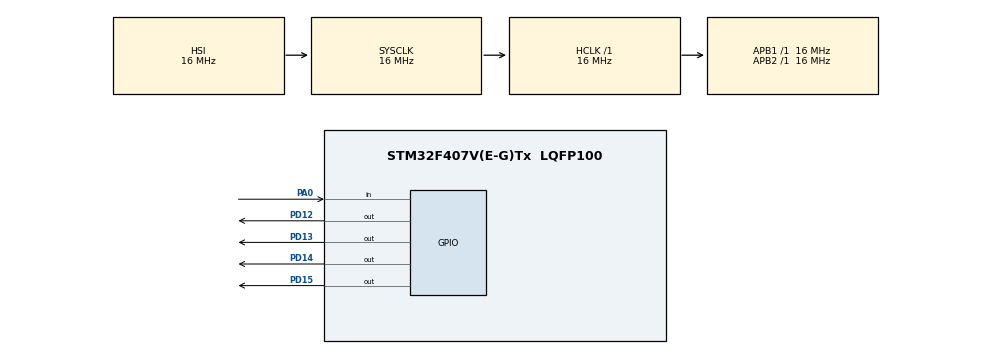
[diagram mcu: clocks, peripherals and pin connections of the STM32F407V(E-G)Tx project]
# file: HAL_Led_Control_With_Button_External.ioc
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Mcu.Family=STM32F4
Mcu.Name=STM32F407V(E-G)Tx
Mcu.Package=LQFP100
NVIC.PriorityGroup=NVIC_PRIORITYGROUP_4
PA0-WKUP.Signal=GPIO_Input
PD12.Signal=GPIO_Output
PD13.Signal=GPIO_Output
PD14.Signal=GPIO_Output
PD15.Signal=GPIO_Output
ProjectManager.HeapSize=0x200
ProjectManager.StackSize=0x400
ProjectManager.TargetToolchain=STM32CubeIDE
RCC.AHBFreq_Value=16000000
RCC.APB1Freq_Value=16000000
RCC.APB2Freq_Value=16000000
RCC.CortexFreq_Value=16000000
RCC.HSE_VALUE=25000000
RCC.HSI_VALUE=16000000
RCC.LSE_VALUE=32768
RCC.SYSCLKFreq_VALUE=16000000
RCC.VCOOutputFreq_Value=192000000
board=custom

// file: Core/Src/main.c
/* USER CODE BEGIN Header */
/**
  ******************************************************************************
  * @file           : main.c
  * @brief          : Main program body
  ******************************************************************************
  * @attention
  *
  * Copyright (c) 2022 STMicroelectronics.
  * All rights reserved.
  *
  * This software is licensed under terms that can be found in the LICENSE file
  * in the root directory of this software component.
  * If no LICENSE file comes with this software, it is provided AS-IS.
  *
  ******************************************************************************
  */
/* USER CODE END Header */
#include "main.h"

/* USER CODE BEGIN Includes */
#include "FreeRTOS.h"
#include "task.h"
/* USER CODE END Includes */

/* USER CODE BEGIN PV */
uint8_t buttonCount=0;
/* USER CODE END PV */

void SystemClock_Config(void);
static void MX_GPIO_Init(void);
/* USER CODE BEGIN PFP */

void readButtonStateTask(void *params);
void ledFlashTask(void *params);

/* USER CODE END PFP */

int main(void)
{

  /* MCU Configuration--------------------------------------------------------*/

  /* Reset of all peripherals, Initializes the Flash interface and the Systick. */
  HAL_Init();

  /* Configure the system clock */
  SystemClock_Config();

  /* Initialize all configured peripherals */
  MX_GPIO_Init();
  /* USER CODE BEGIN 2 */
  xTaskCreate(readButtonStateTask, "Task of Button Read", 100,
		     NULL, 3, NULL);

  xTaskCreate( ledFlashTask, "Task of Led Control", 100,
  	              NULL, 3, NULL);

  vTaskStartScheduler();
  /* USER CODE END 2 */

  /* Infinite loop */
  while (1)
  {

  }
}

void SystemClock_Config(void)
{
  RCC_OscInitTypeDef RCC_OscInitStruct = {0};
  RCC_ClkInitTypeDef RCC_ClkInitStruct = {0};

  /** Configure the main internal regulator output voltage
  */
  __HAL_RCC_PWR_CLK_ENABLE();
  __HAL_PWR_VOLTAGESCALING_CONFIG(PWR_REGULATOR_VOLTAGE_SCALE1);

  /** Initializes the RCC Oscillators according to the specified parameters
  * in the RCC_OscInitTypeDef structure.
  */
  RCC_OscInitStruct.OscillatorType = RCC_OSCILLATORTYPE_HSI;
  RCC_OscInitStruct.HSIState = RCC_HSI_ON;
  RCC_OscInitStruct.HSICalibrationValue = RCC_HSICALIBRATION_DEFAULT;
  RCC_OscInitStruct.PLL.PLLState = RCC_PLL_NONE;
  if (HAL_RCC_OscConfig(&RCC_OscInitStruct) != HAL_OK)
  {
    Error_Handler();
  }

  /** Initializes the CPU, AHB and APB buses clocks
  */
  RCC_ClkInitStruct.ClockType = RCC_CLOCKTYPE_HCLK|RCC_CLOCKTYPE_SYSCLK
                              |RCC_CLOCKTYPE_PCLK1|RCC_CLOCKTYPE_PCLK2;
  RCC_ClkInitStruct.SYSCLKSource = RCC_SYSCLKSOURCE_HSI;
  RCC_ClkInitStruct.AHBCLKDivider = RCC_SYSCLK_DIV1;
  RCC_ClkInitStruct.APB1CLKDivider = RCC_HCLK_DIV1;
  RCC_ClkInitStruct.APB2CLKDivider = RCC_HCLK_DIV1;

  if (HAL_RCC_ClockConfig(&RCC_ClkInitStruct, FLASH_LATENCY_0) != HAL_OK)
  {
    Error_Handler();
  }
}

static void MX_GPIO_Init(void)
{
  GPIO_InitTypeDef GPIO_InitStruct = {0};

  /* GPIO Ports Clock Enable */
  __HAL_RCC_GPIOA_CLK_ENABLE();
  __HAL_RCC_GPIOD_CLK_ENABLE();

  /*Configure GPIO pin Output Level */
  HAL_GPIO_WritePin(GPIOD, GPIO_PIN_12|GPIO_PIN_13|GPIO_PIN_14|GPIO_PIN_15, GPIO_PIN_RESET);

  /*Configure GPIO pin : PA0 */
  GPIO_InitStruct.Pin = GPIO_PIN_0;
  GPIO_InitStruct.Mode = GPIO_MODE_INPUT;
  GPIO_InitStruct.Pull = GPIO_NOPULL;
  HAL_GPIO_Init(GPIOA, &GPIO_InitStruct);

  /*Configure GPIO pins : PD12 PD13 PD14 PD15 */
  GPIO_InitStruct.Pin = GPIO_PIN_12|GPIO_PIN_13|GPIO_PIN_14|GPIO_PIN_15;
  GPIO_InitStruct.Mode = GPIO_MODE_OUTPUT_PP;
  GPIO_InitStruct.Pull = GPIO_NOPULL;
  GPIO_InitStruct.Speed = GPIO_SPEED_FREQ_LOW;
  HAL_GPIO_Init(GPIOD, &GPIO_InitStruct);

}

/* USER CODE BEGIN 4 */
void readButtonStateTask(void *params)
{
	 while (1)
	  {
         if(HAL_GPIO_ReadPin(GPIOA, GPIO_PIN_0) == GPIO_PIN_SET)
         {
        	while (HAL_GPIO_ReadPin(GPIOA, GPIO_PIN_0) == GPIO_PIN_SET);

        	buttonCount++;
        	if (buttonCount == 5)
        	{
        		buttonCount =0;
        	}
         }
	  }
}
void ledFlashTask(void *params)
{
	 while (1)
	  {

      if ( buttonCount ==0 )
            {
    	     HAL_GPIO_WritePin(GPIOD, GPIO_PIN_12 | GPIO_PIN_13 | GPIO_PIN_14 | GPIO_PIN_15, GPIO_PIN_RESET);
            }

      else if(buttonCount == 1)
            {
    	     HAL_GPIO_TogglePin(GPIOD, GPIO_PIN_12 | GPIO_PIN_13 | GPIO_PIN_14 | GPIO_PIN_15);

    	     vTaskDelay(1000);
            }
      else if(buttonCount == 2)
            {
    	  HAL_GPIO_TogglePin(GPIOD, GPIO_PIN_12 | GPIO_PIN_13 | GPIO_PIN_14 | GPIO_PIN_15);
    	    vTaskDelay(750);
            }
      else if(buttonCount == 3)
            {
    	  HAL_GPIO_TogglePin(GPIOD, GPIO_PIN_12 | GPIO_PIN_13 | GPIO_PIN_14 | GPIO_PIN_15);
    	    vTaskDelay(500);
            }
      else if(buttonCount == 4)
            {
    	    vTaskDelay(250);
            }
	  }
}
/* USER CODE END 4 */

void Error_Handler(void)
{
  __disable_irq();
  while (1)
  {
  }
}
